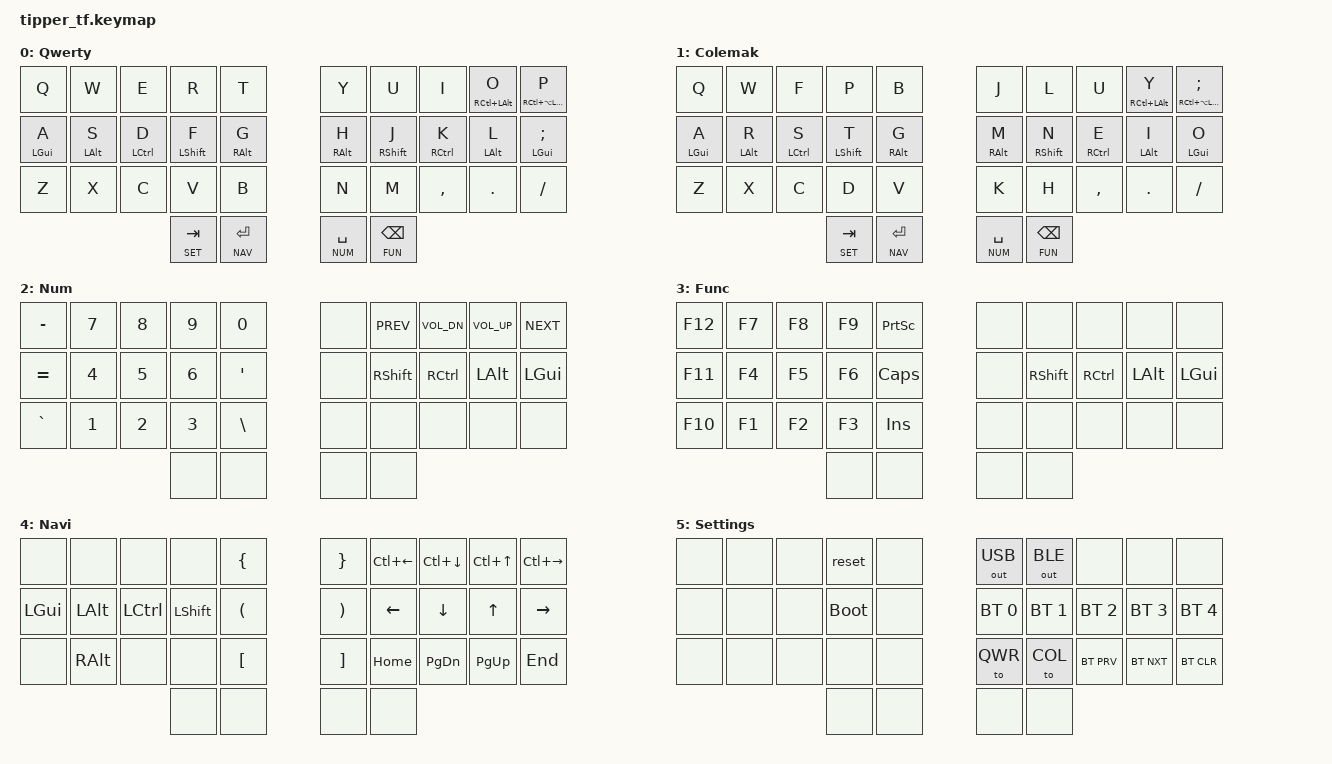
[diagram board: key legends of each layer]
/*
 * Copyright (c) 2021 weteor, 2022 dreipunkteinsvier
 *
 * SPDX-License-Identifier: MIT
 */

#include <behaviors.dtsi>
#include <dt-bindings/zmk/keys.h>
#include <dt-bindings/zmk/bt.h>
#include <dt-bindings/zmk/outputs.h>

#define QWR 0
#define COL 1
#define NUM 2
#define FUN 3
#define NAV 4
#define SET 5

&lt {
	quick_tap_ms = <200>;
};

&caps_word {
	continue-list = <UNDERSCORE MINUS BSPC LSHFT RSHFT>;
};

/ {
	behaviors {
		hl: homerow_mods_left {
			compatible = "zmk,behavior-hold-tap";
			label = "homerow mods left";
			#binding-cells = <2>;
			flavor = "tap-preferred";
			tapping-term-ms = <200>;
			quick-tap-ms = <100>;
			// global-quick-tap;
			bindings = <&kp>, <&kp>;
			// opposite side hand keys
			hold-trigger-key-positions = <5 6 7 8 9 15 16 17 18 19 25 26 27 28 29>;
		};

		hr: homerow_mods_right {
			compatible = "zmk,behavior-hold-tap";
			label = "homerow mods right";
			#binding-cells = <2>;
			flavor = "tap-preferred";
			tapping-term-ms = <200>;
			quick-tap-ms = <100>;
			// global-quick-tap;
			bindings = <&kp>, <&kp>;
			// opposite side hand keys
			hold-trigger-key-positions = <0 1 2 3 4 10 11 12 13 14 20 21 22 23 24>;
		};

		hs: homerow_mods_shift {
			compatible = "zmk,behavior-hold-tap";
			label = "homerow mods shift";
			#binding-cells = <2>;
			flavor = "balanced";
			tapping-term-ms = <200>;
			quick-tap-ms = <100>;
			bindings = <&kp>, <&kp>;
		};
	};
	
	keymap {
		compatible = "zmk,keymap";
		
		default {
			label = "Qwerty";
//  _____________________________       _____________________________
// /  Q  |  W  |  E  |  R  |  T  \     /  Y  |  U  |  I  |  O  |  P  \
// |  A  |  S  |  D  |  F  |  G  |     |  H  |  J  |  K  |  L  |  ;  |
// |  Z  |  X  |  C  |  V  |  B  |     |  N  |  M  |  ,  |  .  |  /  |
//         \ Set/Tab |  Nav/Ent  /     \  Num/Spc  | Fun/Bspc /
//          ---------------------       --------------------
			bindings = <
			&kp Q		&kp W		&kp E		&kp R   	&kp T				&kp Y		&kp U		&kp I		&hs RC(LALT) O		&hs RC(LA(LGUI)) P
			&hl LGUI A	&hl LALT S	&hl LCTRL D	&hs LSHFT F	&hl RALT G			&hr RALT H	&hs RSHFT J	&hr RCTRL K	&hr LALT L			&hr LGUI SEMI
			&kp Z		&kp X		&kp C		&kp V   	&kp B				&kp N		&kp M		&kp COMMA	&kp DOT				&kp FSLH
												&lt SET TAB	&lt NAV RET			&lt NUM SPACE	&lt FUN BSPC
			>;
		};

		colemak_layer {
			label = "Colemak";
			bindings = <
			&kp Q		&kp W		&kp F		&kp P		&kp B			&kp J		&kp L		&kp U		&hs RC(LALT) Y		&hs RC(LA(LGUI)) SEMI
			&hl LGUI A	&hl LALT R	&hl LCTRL S	&hs LSHFT T	&hl RALT G		&hr RALT M	&hs RSHFT N	&hr RCTRL E	&hr LALT I			&hr LGUI O
			&kp Z		&kp X		&kp C		&kp D		&kp V			&kp K		&kp H		&kp COMMA	&kp DOT				&kp FSLH
												&lt SET TAB	&lt NAV RET		&lt NUM SPACE	&lt FUN BSPC
			>;
		};

		numbers {
			label = "Num";
//  _____________________________       _____________________________
// /  -  |  7  |  8  |  9  |  0  \     /     |     |     |     |     \
// |  =  |  4  |  5  |  6  |  '  |     |     | SHFT| CTRL| ALT | GUI |
// |  `  |  1  |  2  |  3  |  \  |     |     |     |     |     |     |
//         \         |           /     \           |         /
//          ---------------------       --------------------
			bindings = <
			&kp MINUS	&kp N7	&kp N8	&kp N9	&kp N0				&none	&kp C_PREV	&kp C_VOL_DN	&kp C_VOL_UP	&kp C_NEXT
			&kp EQUAL	&kp N4	&kp N5	&kp N6	&kp SQT				&none	&kp RSHFT	&kp RCTRL		&kp LALT		&kp LGUI
			&kp GRAVE	&kp N1	&kp N2	&kp N3	&kp BSLH			&none	&none		&none		&none		&none
										&none	&none				&none	&none
			>;
		};
		
		functions {
			label = "Func";
//  _____________________________       _____________________________
// / F12 | F7  | F8  | F9  | PRT \     /     |     |     |     |     \
// | F11 | F4  | F5  | F6  | CAPS|     |     | SHFT| CTRL| ALT | GUI |
// | F10 | F1  | F2  | F3  | INS |     |     |     |     |     |     |
//         \         |           /     \           |          /
//          ---------------------       --------------------
			bindings = <
			&kp F12	&kp F7	&kp F8	&kp F9	&kp PSCRN			&none	&none		&none		&none		&none
			&kp F11	&kp F4	&kp F5	&kp F6	&kp CAPS			&none	&kp RSHFT	&kp RCTRL	&kp LALT	&kp LGUI
			&kp F10	&kp F1	&kp F2	&kp F3	&kp INS				&none	&none		&none		&none		&none
									&none	&none				&none	&none
			>;
		};

		navigation {
			label = "Navi";
//  _____________________________       _____________________________
// /     |     |     |     |  {  \     /  }  |     |     |     |     \
// | GUI | ALT | CTRL| SHFT|  (  |     |  )  |  <  |  ^  |  ^  |  >  |
// |     |     |     |     |  [  |     |  ]  | HOME| PGDN| PGUP| END |
//         \         |           /     \           |          /
//          ---------------------       --------------------
			bindings = <
			&none		&none		&none		&none		&kp	LBRC			&kp	RBRC	&kp LC(LEFT)	&kp LC(DOWN)	&kp LC(UP)	&kp LC(RIGHT)
			&kp LGUI	&kp LALT	&kp LCTRL	&kp LSHFT	&kp LPAR			&kp RPAR	&kp LEFT		&kp DOWN		&kp UP		&kp RIGHT
			&none		&kp RALT	&none		&none		&kp LBKT			&kp RBKT	&kp HOME		&kp PG_DN		&kp PG_UP	&kp END
												&none		&none				&none		&none
			>;
		};

		settings {
			label = "Settings";
//  _____________________________       _____________________________
// /  0  |  1  |  2  |  3  |  4  \     /   5 |   6 |   7 |   8 |  9  \
// | 10  | 11  | 12  | 13  | 14  |     |  15 |  16 |  17 |  18 | 19  |
// | 20  | 21  | 22  | 23  | 24  |     |  25 |  26 |  27 |  28 | 29  |
//          \   30   |    31     /     \     32    |  33    /
//           --------------------       ---------------------
			bindings = <
			&none	&none	&none	&reset		&none			&out OUT_USB	&out OUT_BLE	&none			&none			&none
			&none	&none	&none	&bootloader	&none			&bt BT_SEL 0	&bt BT_SEL 1	&bt BT_SEL 2	&bt BT_SEL 3	&bt BT_SEL 4
			&none	&none	&none	&none		&none			&to QWR			&to COL			&bt BT_PRV		&bt BT_NXT		&bt BT_CLR
									&none		&none			&none			&none
			>;
		};
	};
};

//  _____________________________       _____________________________
// /  0  |  1  |  2  |  3  |  4  \     /   5 |   6 |   7 |   8 |  9  \
// | 10  | 11  | 12  | 13  | 14  |     |  15 |  16 |  17 |  18 | 19  |
// | 20  | 21  | 22  | 23  | 24  |     |  25 |  26 |  27 |  28 | 29  |
//          \   30   |    31     /     \     32    |  33    /
//           --------------------       ---------------------

/ {
	combos {
		compatible = "zmk,combos";
		combo_esc {
			timeout-ms = <20>;
			key-positions = <11 12>;
			bindings = <&kp ESC>;
		};
		combo_tab {
			timeout-ms = <20>;
			key-positions = <12 13>;
			bindings = <&kp TAB>;
		};
		combo_del {
			timeout-ms = <20>;
			key-positions = <15 16>;
			bindings = <&kp DEL>;
		};
		combo_bspc {
			timeout-ms = <20>;
			key-positions = <16 17>;
			bindings = <&kp BSPC>;
		};
		combo_enter {
			timeout-ms = <20>;
			key-positions = <17 18>;
			bindings = <&kp RET>;
		};
		combo_ae {
			timeout-ms = <20>;
			key-positions = <0 10>;
			bindings = <&kp RA(Q)>;
		};
		combo_oe {
			timeout-ms = <20>;
			key-positions = <8 18>;
			bindings = <&kp RA(P)>; 
		};
		combo_ue {
			timeout-ms = <20>;
			key-positions = <6 16>;
			bindings = <&kp RA(Y)>;
		};
		combo_ss {
			timeout-ms = <20>;
			key-positions = <1 11>;
			bindings = <&kp RA(S)>;
		};
		combo_caps-word {
			timeout-ms = <20>;
			key-positions = <13 16>;
			bindings = <&caps_word>;
		};
	};
};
